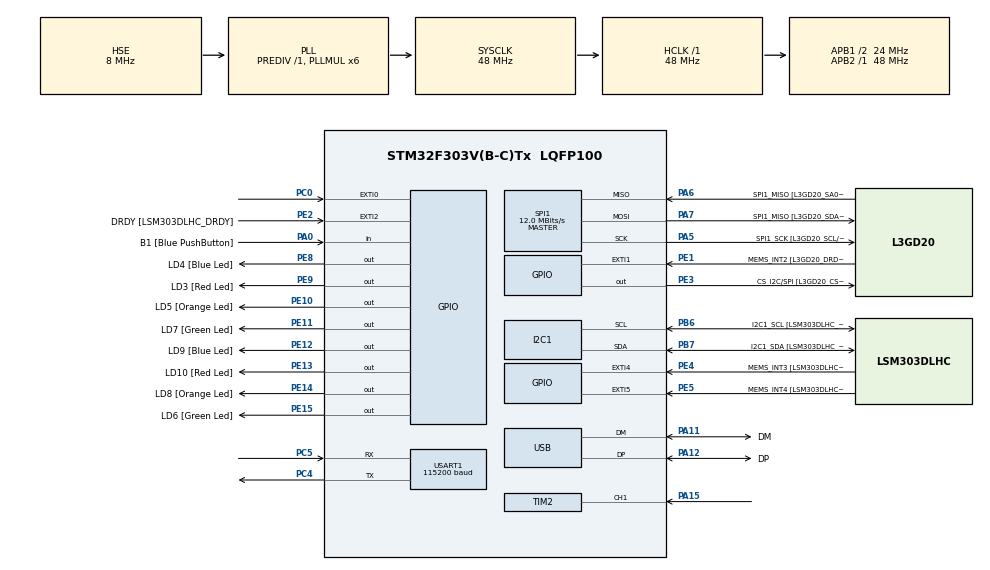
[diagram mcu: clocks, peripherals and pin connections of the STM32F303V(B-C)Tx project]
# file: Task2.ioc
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I2C1.Timing=0x00201D2B
I2C1.Timing-I2C=0x2000090E
Mcu.Family=STM32F3
Mcu.Name=STM32F303V(B-C)Tx
Mcu.Package=LQFP100
NVIC.EXTI0_IRQn=true\:0\:0\:false\:false\:true\:true\:true\:true
NVIC.PriorityGroup=NVIC_PRIORITYGROUP_0
NVIC.TIM2_IRQn=true\:0\:0\:false\:false\:true\:true\:true\:true
NVIC.USART1_IRQn=true\:0\:0\:false\:false\:true\:true\:true\:true
PA0.GPIO_Label=B1 [Blue PushButton]
PA0.Signal=GPIO_Input
PA11.GPIO_Label=DM
PA11.Mode=Device
PA11.Signal=USB_DM
PA12.GPIO_Label=DP
PA12.Mode=Device
PA12.Signal=USB_DP
PA13.GPIO_Label=SWDIO
PA13.Mode=Serial_Wire
PA13.Signal=SYS_JTMS-SWDIO
PA14.GPIO_Label=SWCLK
PA14.Mode=Serial_Wire
PA14.Signal=SYS_JTCK-SWCLK
PA15.Signal=S_TIM2_CH1_ETR
PA5.GPIO_Label=SPI1_SCK [L3GD20_SCL/SPC]
PA5.Mode=Full_Duplex_Master
PA5.Signal=SPI1_SCK
PA6.GPIO_Label=SPI1_MISO [L3GD20_SA0/SDO]
PA6.Mode=Full_Duplex_Master
PA6.Signal=SPI1_MISO
PA7.GPIO_Label=SPI1_MISO [L3GD20_SDA/SDI/SDO]
PA7.Mode=Full_Duplex_Master
PA7.Signal=SPI1_MOSI
PB3.GPIO_Label=SWO
PB3.Signal=SYS_JTDO-TRACESWO
PB6.GPIO_Label=I2C1_SCL [LSM303DLHC_SCL]
PB6.GPIO_Pu=GPIO_PULLUP
PB6.Mode=I2C
PB6.Signal=I2C1_SCL
PB7.GPIO_Label=I2C1_SDA [LSM303DLHC_SDA]
PB7.GPIO_Pu=GPIO_PULLUP
PB7.Mode=I2C
PB7.Signal=I2C1_SDA
PC0.GPIO_ModeDefaultEXTI=GPIO_MODE_IT_RISING
PC0.Signal=GPXTI0
PC14-OSC32_IN.GPIO_Label=OSC32_IN
PC14-OSC32_IN.Signal=RCC_OSC32_IN
PC15-OSC32_OUT.GPIO_Label=OSC32_OUT
PC15-OSC32_OUT.Signal=RCC_OSC32_OUT
PC4.Mode=Asynchronous
PC4.Signal=USART1_TX
PC5.Mode=Asynchronous
PC5.Signal=USART1_RX
PE1.GPIO_Label=MEMS_INT2 [L3GD20_DRDY/INT2]
PE1.GPIO_ModeDefaultEXTI=GPIO_MODE_EVT_RISING
PE1.Signal=GPXTI1
PE10.GPIO_Label=LD5 [Orange Led]
PE10.Signal=GPIO_Output
PE11.GPIO_Label=LD7 [Green Led]
PE11.Signal=GPIO_Output
PE12.GPIO_Label=LD9 [Blue Led]
PE12.Signal=GPIO_Output
PE13.GPIO_Label=LD10 [Red Led]
PE13.Signal=GPIO_Output
PE14.GPIO_Label=LD8 [Orange Led]
PE14.Signal=GPIO_Output
PE15.GPIO_Label=LD6 [Green Led]
PE15.Signal=GPIO_Output
PE2.GPIO_Label=DRDY [LSM303DLHC_DRDY]
PE2.GPIO_ModeDefaultEXTI=GPIO_MODE_EVT_RISING
PE2.Signal=GPXTI2
PE3.GPIO_Label=CS_I2C/SPI [L3GD20_CS_I2C/SPI]
PE3.Signal=GPIO_Output
PE4.GPIO_Label=MEMS_INT3 [LSM303DLHC_INT1]
PE4.GPIO_ModeDefaultEXTI=GPIO_MODE_EVT_RISING
PE4.Signal=GPXTI4
PE5.GPIO_Label=MEMS_INT4 [LSM303DLHC_INT2]
PE5.GPIO_ModeDefaultEXTI=GPIO_MODE_EVT_RISING
PE5.Signal=GPXTI5
PE8.GPIO_Label=LD4 [Blue Led]
PE8.Signal=GPIO_Output
PE9.GPIO_Label=LD3 [Red Led]
PE9.Signal=GPIO_Output
PF0-OSC_IN.GPIO_Label=OSC_IN
PF0-OSC_IN.Mode=HSE-External-Clock-Source
PF0-OSC_IN.Signal=RCC_OSC_IN
PF1-OSC_OUT.GPIO_Label=OSC_OUT
PF1-OSC_OUT.Signal=RCC_OSC_OUT
ProjectManager.HeapSize=0x200
ProjectManager.StackSize=0x400
ProjectManager.TargetToolchain=CMake
RCC.AHBFreq_Value=48000000
RCC.APB1CLKDivider=RCC_HCLK_DIV2
RCC.APB1Freq_Value=24000000
RCC.APB1TimFreq_Value=48000000
RCC.APB2Freq_Value=48000000
RCC.APB2TimFreq_Value=48000000
RCC.CortexFreq_Value=48000000
RCC.HCLKFreq_Value=48000000
RCC.HSE_VALUE=8000000
RCC.HSI_VALUE=8000000
RCC.LSE_VALUE=32768
RCC.PLLMUL=RCC_PLL_MUL6
RCC.SYSCLKFreq_VALUE=48000000
RCC.SYSCLKSourceVirtual=RCC_SYSCLKSOURCE_PLLCLK
RCC.USBFreq_Value=48000000
SH.S_TIM2_CH1_ETR.0=TIM2_CH1,Input_Capture1_from_TI1
SPI1.BaudRatePrescaler=SPI_BAUDRATEPRESCALER_4
SPI1.BaudRatePrescaler-Full_Duplex_Master=SPI_BAUDRATEPRESCALER_2
SPI1.CalculateBaudRate=12.0 MBits/s
SPI1.CalculateBaudRate-Full_Duplex_Master=24.0 MBits/s
SPI1.Direction=SPI_DIRECTION_2LINES
SPI1.Mode=SPI_MODE_MASTER
SPI1.Mode-Full_Duplex_Master=SPI_MODE_MASTER
SPI1.VirtualType=VM_MASTER
TIM2.Channel-Input_Capture1_from_TI1=TIM_CHANNEL_1
TIM2.Prescaler=71
USART1.BaudRate=115200
USART1.VirtualMode-Asynchronous=VM_ASYNC
VP_TIM2_VS_ClockSourceINT.Mode=Internal
board=STM32F3DISCOVERY

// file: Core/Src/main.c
/* USER CODE BEGIN Header */
/**
  ******************************************************************************
  * @file           : main.c
  * @brief          : Main program body
  ******************************************************************************
  * @attention
  *
  * Copyright (c) 2026 STMicroelectronics.
  * All rights reserved.
  *
  * This software is licensed under terms that can be found in the LICENSE file
  * in the root directory of this software component.
  * If no LICENSE file comes with this software, it is provided AS-IS.
  *
  ******************************************************************************
  */
/* USER CODE END Header */
#include "main.h"

/* USER CODE BEGIN Includes */
#include <stdio.h>
#include <stdint.h>
#include <string.h>
/* USER CODE END Includes */

/* USER CODE BEGIN PTD */
float frequency = 0;
/* USER CODE END PTD */

I2C_HandleTypeDef hi2c1;

SPI_HandleTypeDef hspi1;

TIM_HandleTypeDef htim2;

UART_HandleTypeDef huart1;

PCD_HandleTypeDef hpcd_USB_FS;

void SystemClock_Config(void);
static void MX_GPIO_Init(void);
static void MX_I2C1_Init(void);
static void MX_SPI1_Init(void);
static void MX_TIM2_Init(void);
static void MX_USART1_UART_Init(void);
static void MX_USB_PCD_Init(void);

/* USER CODE BEGIN 0 */
void print_uart(const char* msg) {
  HAL_UART_Transmit(&huart1, (uint8_t*)msg, strlen(msg), HAL_MAX_DELAY);
}

uint32_t x1 = 0, x2= 0;
uint32_t difference = 0;
uint8_t firstEdge = 0;

void HAL_TIM_IC_CaptureCallback(TIM_HandleTypeDef *htim)
{
  if (GPIO_Pin == GPIO_PIN_0) {

  if(firstEdge) {
    x1 = HAL_TIM_ReadCapturedValue(htim, TIM_CHANNEL_1);
    firstEdge = 0;

  } else {
    x2= HAL_TIM_ReadCapturedValue(htim, TIM_CHANNEL_1);
    if (x2> x1)
      difference = x2- x1;
    else
      difference = (0xFFFFFFFF - x1) + ic_val2;

    frequency = 4800000.0 / difference;

    firstEdge = 0;
    }
  }
}
}
/* USER CODE END 0 */

int main(void)
{

  /* MCU Configuration--------------------------------------------------------*/

  /* Reset of all peripherals, Initializes the Flash interface and the Systick. */
  HAL_Init();

  /* Configure the system clock */
  SystemClock_Config();

  /* Initialize all configured peripherals */
  MX_GPIO_Init();
  MX_I2C1_Init();
  MX_SPI1_Init();
  MX_TIM2_Init();
  MX_USART1_UART_Init();
  MX_USB_PCD_Init();
  /* USER CODE BEGIN 2 */
  HAL_TIM_IC_Start_IT(&htim2, TIM_CHANNEL_1);
  /* USER CODE END 2 */

  /* Infinite loop */
  while (1)
  {
    printf("Frequency: %.2f Hz\r\n", frequency);
    HAL_Delay(1000);
  }
}

void SystemClock_Config(void)
{
  RCC_OscInitTypeDef RCC_OscInitStruct = {0};
  RCC_ClkInitTypeDef RCC_ClkInitStruct = {0};
  RCC_PeriphCLKInitTypeDef PeriphClkInit = {0};

  /** Initializes the RCC Oscillators according to the specified parameters
  * in the RCC_OscInitTypeDef structure.
  */
  RCC_OscInitStruct.OscillatorType = RCC_OSCILLATORTYPE_HSI|RCC_OSCILLATORTYPE_HSE;
  RCC_OscInitStruct.HSEState = RCC_HSE_BYPASS;
  RCC_OscInitStruct.HSEPredivValue = RCC_HSE_PREDIV_DIV1;
  RCC_OscInitStruct.HSIState = RCC_HSI_ON;
  RCC_OscInitStruct.HSICalibrationValue = RCC_HSICALIBRATION_DEFAULT;
  RCC_OscInitStruct.PLL.PLLState = RCC_PLL_ON;
  RCC_OscInitStruct.PLL.PLLSource = RCC_PLLSOURCE_HSE;
  RCC_OscInitStruct.PLL.PLLMUL = RCC_PLL_MUL6;
  if (HAL_RCC_OscConfig(&RCC_OscInitStruct) != HAL_OK)
  {
    Error_Handler();
  }

  /** Initializes the CPU, AHB and APB buses clocks
  */
  RCC_ClkInitStruct.ClockType = RCC_CLOCKTYPE_HCLK|RCC_CLOCKTYPE_SYSCLK
                              |RCC_CLOCKTYPE_PCLK1|RCC_CLOCKTYPE_PCLK2;
  RCC_ClkInitStruct.SYSCLKSource = RCC_SYSCLKSOURCE_PLLCLK;
  RCC_ClkInitStruct.AHBCLKDivider = RCC_SYSCLK_DIV1;
  RCC_ClkInitStruct.APB1CLKDivider = RCC_HCLK_DIV2;
  RCC_ClkInitStruct.APB2CLKDivider = RCC_HCLK_DIV1;

  if (HAL_RCC_ClockConfig(&RCC_ClkInitStruct, FLASH_LATENCY_1) != HAL_OK)
  {
    Error_Handler();
  }
  PeriphClkInit.PeriphClockSelection = RCC_PERIPHCLK_USB|RCC_PERIPHCLK_USART1
                              |RCC_PERIPHCLK_I2C1;
  PeriphClkInit.Usart1ClockSelection = RCC_USART1CLKSOURCE_PCLK2;
  PeriphClkInit.I2c1ClockSelection = RCC_I2C1CLKSOURCE_HSI;
  PeriphClkInit.USBClockSelection = RCC_USBCLKSOURCE_PLL;
  if (HAL_RCCEx_PeriphCLKConfig(&PeriphClkInit) != HAL_OK)
  {
    Error_Handler();
  }
}

static void MX_I2C1_Init(void)
{

  hi2c1.Instance = I2C1;
  hi2c1.Init.Timing = 0x00201D2B;
  hi2c1.Init.OwnAddress1 = 0;
  hi2c1.Init.AddressingMode = I2C_ADDRESSINGMODE_7BIT;
  hi2c1.Init.DualAddressMode = I2C_DUALADDRESS_DISABLE;
  hi2c1.Init.OwnAddress2 = 0;
  hi2c1.Init.OwnAddress2Masks = I2C_OA2_NOMASK;
  hi2c1.Init.GeneralCallMode = I2C_GENERALCALL_DISABLE;
  hi2c1.Init.NoStretchMode = I2C_NOSTRETCH_DISABLE;
  if (HAL_I2C_Init(&hi2c1) != HAL_OK)
  {
    Error_Handler();
  }

  /** Configure Analogue filter
  */
  if (HAL_I2CEx_ConfigAnalogFilter(&hi2c1, I2C_ANALOGFILTER_ENABLE) != HAL_OK)
  {
    Error_Handler();
  }

  /** Configure Digital filter
  */
  if (HAL_I2CEx_ConfigDigitalFilter(&hi2c1, 0) != HAL_OK)
  {
    Error_Handler();
  }

}

static void MX_SPI1_Init(void)
{

  /* SPI1 parameter configuration*/
  hspi1.Instance = SPI1;
  hspi1.Init.Mode = SPI_MODE_MASTER;
  hspi1.Init.Direction = SPI_DIRECTION_2LINES;
  hspi1.Init.DataSize = SPI_DATASIZE_4BIT;
  hspi1.Init.CLKPolarity = SPI_POLARITY_LOW;
  hspi1.Init.CLKPhase = SPI_PHASE_1EDGE;
  hspi1.Init.NSS = SPI_NSS_SOFT;
  hspi1.Init.BaudRatePrescaler = SPI_BAUDRATEPRESCALER_4;
  hspi1.Init.FirstBit = SPI_FIRSTBIT_MSB;
  hspi1.Init.TIMode = SPI_TIMODE_DISABLE;
  hspi1.Init.CRCCalculation = SPI_CRCCALCULATION_DISABLE;
  hspi1.Init.CRCPolynomial = 7;
  hspi1.Init.CRCLength = SPI_CRC_LENGTH_DATASIZE;
  hspi1.Init.NSSPMode = SPI_NSS_PULSE_ENABLE;
  if (HAL_SPI_Init(&hspi1) != HAL_OK)
  {
    Error_Handler();
  }

}

static void MX_TIM2_Init(void)
{

  TIM_ClockConfigTypeDef sClockSourceConfig = {0};
  TIM_MasterConfigTypeDef sMasterConfig = {0};
  TIM_IC_InitTypeDef sConfigIC = {0};

  htim2.Instance = TIM2;
  htim2.Init.Prescaler = 71;
  htim2.Init.CounterMode = TIM_COUNTERMODE_UP;
  htim2.Init.Period = 4294967295;
  htim2.Init.ClockDivision = TIM_CLOCKDIVISION_DIV1;
  htim2.Init.AutoReloadPreload = TIM_AUTORELOAD_PRELOAD_DISABLE;
  if (HAL_TIM_Base_Init(&htim2) != HAL_OK)
  {
    Error_Handler();
  }
  sClockSourceConfig.ClockSource = TIM_CLOCKSOURCE_INTERNAL;
  if (HAL_TIM_ConfigClockSource(&htim2, &sClockSourceConfig) != HAL_OK)
  {
    Error_Handler();
  }
  if (HAL_TIM_IC_Init(&htim2) != HAL_OK)
  {
    Error_Handler();
  }
  sMasterConfig.MasterOutputTrigger = TIM_TRGO_RESET;
  sMasterConfig.MasterSlaveMode = TIM_MASTERSLAVEMODE_DISABLE;
  if (HAL_TIMEx_MasterConfigSynchronization(&htim2, &sMasterConfig) != HAL_OK)
  {
    Error_Handler();
  }
  sConfigIC.ICPolarity = TIM_INPUTCHANNELPOLARITY_RISING;
  sConfigIC.ICSelection = TIM_ICSELECTION_DIRECTTI;
  sConfigIC.ICPrescaler = TIM_ICPSC_DIV1;
  sConfigIC.ICFilter = 0;
  if (HAL_TIM_IC_ConfigChannel(&htim2, &sConfigIC, TIM_CHANNEL_1) != HAL_OK)
  {
    Error_Handler();
  }

}

static void MX_USART1_UART_Init(void)
{

  huart1.Instance = USART1;
  huart1.Init.BaudRate = 115200;
  huart1.Init.WordLength = UART_WORDLENGTH_8B;
  huart1.Init.StopBits = UART_STOPBITS_1;
  huart1.Init.Parity = UART_PARITY_NONE;
  huart1.Init.Mode = UART_MODE_TX_RX;
  huart1.Init.HwFlowCtl = UART_HWCONTROL_NONE;
  huart1.Init.OverSampling = UART_OVERSAMPLING_16;
  huart1.Init.OneBitSampling = UART_ONE_BIT_SAMPLE_DISABLE;
  huart1.AdvancedInit.AdvFeatureInit = UART_ADVFEATURE_NO_INIT;
  if (HAL_UART_Init(&huart1) != HAL_OK)
  {
    Error_Handler();
  }

}

static void MX_USB_PCD_Init(void)
{

  hpcd_USB_FS.Instance = USB;
  hpcd_USB_FS.Init.dev_endpoints = 8;
  hpcd_USB_FS.Init.speed = PCD_SPEED_FULL;
  hpcd_USB_FS.Init.phy_itface = PCD_PHY_EMBEDDED;
  hpcd_USB_FS.Init.low_power_enable = DISABLE;
  hpcd_USB_FS.Init.battery_charging_enable = DISABLE;
  if (HAL_PCD_Init(&hpcd_USB_FS) != HAL_OK)
  {
    Error_Handler();
  }

}

static void MX_GPIO_Init(void)
{
  GPIO_InitTypeDef GPIO_InitStruct = {0};

  /* GPIO Ports Clock Enable */
  __HAL_RCC_GPIOE_CLK_ENABLE();
  __HAL_RCC_GPIOC_CLK_ENABLE();
  __HAL_RCC_GPIOF_CLK_ENABLE();
  __HAL_RCC_GPIOA_CLK_ENABLE();
  __HAL_RCC_GPIOB_CLK_ENABLE();

  /*Configure GPIO pin Output Level */
  HAL_GPIO_WritePin(GPIOE, CS_I2C_SPI_Pin|LD4_Pin|LD3_Pin|LD5_Pin
                          |LD7_Pin|LD9_Pin|LD10_Pin|LD8_Pin
                          |LD6_Pin, GPIO_PIN_RESET);

  /*Configure GPIO pins : DRDY_Pin MEMS_INT3_Pin MEMS_INT4_Pin MEMS_INT2_Pin */
  GPIO_InitStruct.Pin = DRDY_Pin|MEMS_INT3_Pin|MEMS_INT4_Pin|MEMS_INT2_Pin;
  GPIO_InitStruct.Mode = GPIO_MODE_EVT_RISING;
  GPIO_InitStruct.Pull = GPIO_NOPULL;
  HAL_GPIO_Init(GPIOE, &GPIO_InitStruct);

  /*Configure GPIO pins : CS_I2C_SPI_Pin LD4_Pin LD3_Pin LD5_Pin
                           LD7_Pin LD9_Pin LD10_Pin LD8_Pin
                           LD6_Pin */
  GPIO_InitStruct.Pin = CS_I2C_SPI_Pin|LD4_Pin|LD3_Pin|LD5_Pin
                          |LD7_Pin|LD9_Pin|LD10_Pin|LD8_Pin
                          |LD6_Pin;
  GPIO_InitStruct.Mode = GPIO_MODE_OUTPUT_PP;
  GPIO_InitStruct.Pull = GPIO_NOPULL;
  GPIO_InitStruct.Speed = GPIO_SPEED_FREQ_LOW;
  HAL_GPIO_Init(GPIOE, &GPIO_InitStruct);

  /*Configure GPIO pin : PC0 */
  GPIO_InitStruct.Pin = GPIO_PIN_0;
  GPIO_InitStruct.Mode = GPIO_MODE_IT_RISING;
  GPIO_InitStruct.Pull = GPIO_NOPULL;
  HAL_GPIO_Init(GPIOC, &GPIO_InitStruct);

  /*Configure GPIO pin : B1_Pin */
  GPIO_InitStruct.Pin = B1_Pin;
  GPIO_InitStruct.Mode = GPIO_MODE_INPUT;
  GPIO_InitStruct.Pull = GPIO_NOPULL;
  HAL_GPIO_Init(B1_GPIO_Port, &GPIO_InitStruct);

  /* EXTI interrupt init*/
  HAL_NVIC_SetPriority(EXTI0_IRQn, 0, 0);
  HAL_NVIC_EnableIRQ(EXTI0_IRQn);

}

void Error_Handler(void)
{
  __disable_irq();
  while (1)
  {
  }
}
